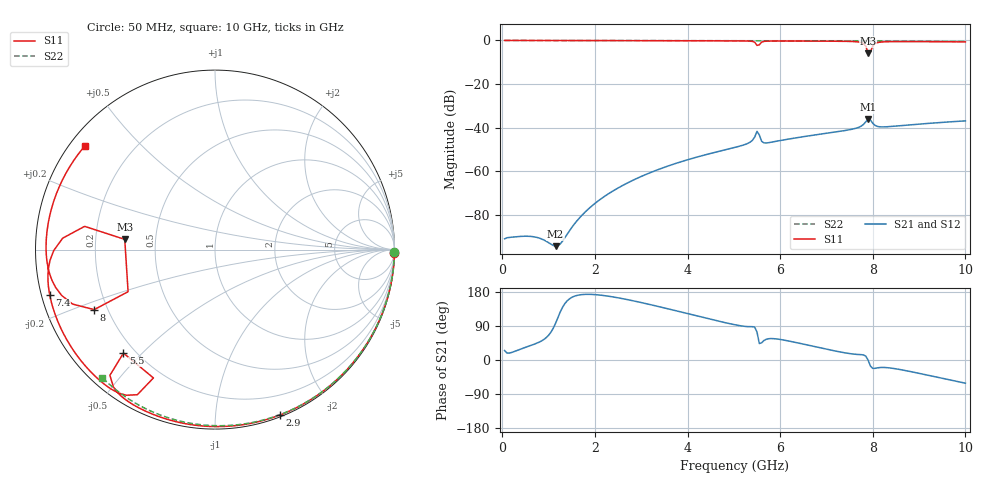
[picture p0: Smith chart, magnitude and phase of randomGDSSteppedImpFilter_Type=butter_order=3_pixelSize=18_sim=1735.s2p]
! freq	dB(S11)	phase(S11)	dB(S12)	phase(S12)
!  dB(S21)	phase(S21)	dB(S22)	phase(S22)
!S-par simulation data
#  GHz  S  DB  R 50
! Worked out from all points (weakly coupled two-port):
!   200 points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, 50 MHz to 10 GHz, reference 50 ohm
!   highest |S21| = -36.11 dB at 7.9 GHz (marker M1); lowest = -94.4 dB at 1.15 GHz (marker M2)
!   lowest |S11| = -5.9 dB at 7.9 GHz (marker M3), VSWR 3.05, Z = 16.4 + j2.52 ohm
!   |S11| at or under -10 dB: nowhere
!   |S22| runs from -0.4 to 0.0 dB; largest |S21 - S12| = 0
!   S11 on the Smith chart (normalised r, x): 50 MHz: 0, -93; 2.9 GHz: 0.02, -1.46; 5.5 GHz: 0.16, -0.44; 7.4 GHz: 0.02, -0.14; 8 GHz: 0.15, -0.23; 10 GHz: 0.04, +0.35
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0.05  -0.00 -1.2  -91.07 25.0  -91.07 25.0  -0.00 -0.8
1.15  -0.03 -28.1  -94.43 96.8  -94.43 96.8  -0.02 -17.4
1.75  -0.05 -42.3  -79.58 173.0  -79.58 173.0  -0.03 -26.2
2.25  -0.07 -53.9  -70.97 169.1  -70.97 169.1  -0.04 -33.5
2.9  -0.09 -68.7  -63.38 154.3  -63.38 154.3  -0.06 -42.9
3.4  -0.10 -79.7  -59.00 140.3  -59.00 140.3  -0.07 -49.9
5.05  -0.19 -115.6  -48.95 92.4  -48.95 92.4  -0.11 -72.3
5.35  -0.31 -124.1  -46.71 87.9  -46.71 87.9  -0.12 -76.2
5.5  -2.27 -131.5  -41.74 73.8  -41.74 73.8  -0.13 -78.1
5.55  -2.01 -115.6  -43.37 43.4  -43.37 43.4  -0.13 -78.7
5.65  -0.44 -121.4  -47.02 51.5  -47.02 51.5  -0.13 -80.0
6.7  -0.29 -147.6  -43.53 36.6  -43.53 36.6  -0.18 -93.1
7.4  -0.40 -164.5  -41.35 18.9  -41.35 18.9  -0.22 -101.5
7.75  -0.93 -179.7  -39.32 14.1  -39.32 14.1  -0.24 -105.7
7.85  -2.64 169.9  -37.34 10.1  -37.34 10.1  -0.25 -106.8
7.9  -5.92 173.5  -36.11 -0.5  -36.11 -0.5  -0.25 -107.4
7.95  -5.38 -154.2  -36.52 -16.0  -36.52 -16.0  -0.26 -108.0
8  -2.48 -153.6  -38.03 -22.2  -38.03 -22.2  -0.26 -108.6
8.1  -0.99 -163.4  -39.46 -20.8  -39.46 -20.8  -0.27 -109.7
8.35  -0.56 -175.1  -39.56 -20.7  -39.56 -20.7  -0.29 -112.6
9.15  -0.56 163.3  -38.15 -39.1  -38.15 -39.1  -0.36 -121.8
10  -0.66 141.4  -36.91 -61.2  -36.91 -61.2  -0.44 -131.4
